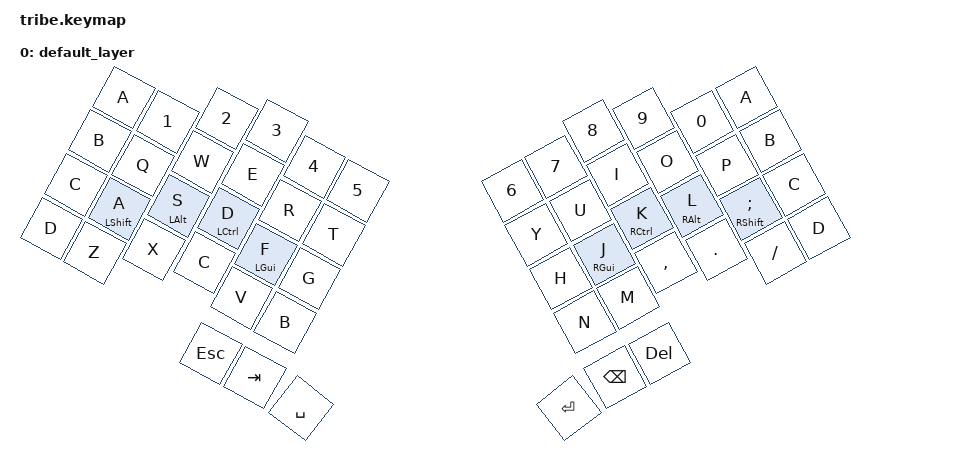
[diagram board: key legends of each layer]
#include <behaviors.dtsi>
#include <dt-bindings/zmk/keys.h>

&mt {
    quick-tap-ms = <200>;
    flavor = "tap-preferred";
    require-prior-idle-ms = <125>;
};


/ {
    keymap {
        compatible = "zmk,keymap";

        default_layer {
            bindings = <

            &kp A    &kp N1   &kp N2   &kp N3   &kp N4   &kp N5   &kp N6   &kp N7   &kp N8   &kp N9   &kp N0   &kp A 
            &kp B    &kp Q    &kp W    &kp E    &kp R    &kp T    &kp Y    &kp U    &kp I    &kp O    &kp P    &kp B 
            &kp C    &mt LSHIFT A &mt LALT S &mt LCTRL D &mt LGUI F &kp G    &kp H    &mt RGUI J &mt RCTRL K &mt RALT L &mt RSHIFT SEMI &kp C
            &kp D    &kp Z    &kp X    &kp C    &kp V    &kp B    &kp N    &kp M    &kp COMMA &kp DOT &kp SLASH &kp D 
                                       &kp ESC  &kp TAB  &kp SPACE &kp ENTER &kp BSPC &kp DEL

            >;
        };
    };
 };
